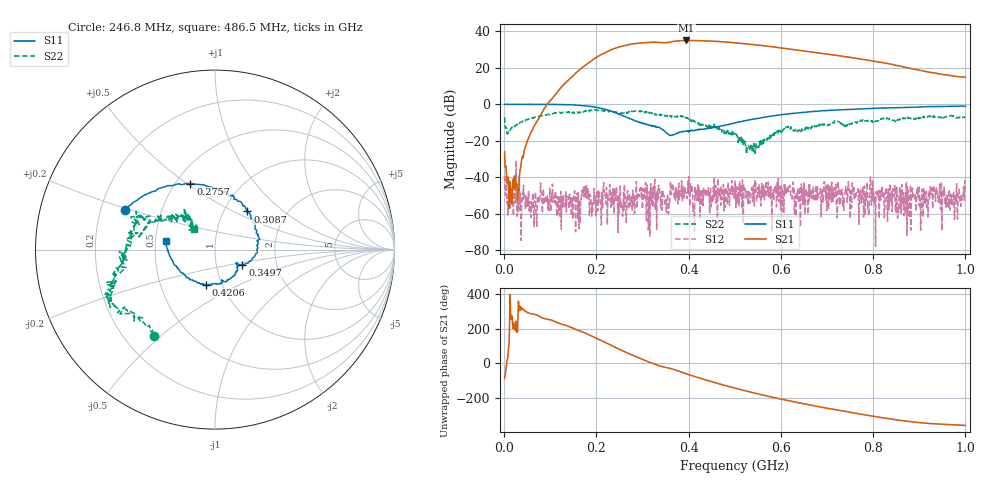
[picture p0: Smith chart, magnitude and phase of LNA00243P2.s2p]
! Created with skrf 1.9.0 (http://scikit-rf.org).
# Hz S RI R 50.0
!freq ReS11 ImS11 ReS21 ImS21 ReS12 ImS12 ReS22 ImS22
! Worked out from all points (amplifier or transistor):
!   1001 points, 1 MHz to 1 GHz, reference 50 ohm
!   highest |S21| = 35.0 dB at 394.6 MHz (marker M1)
!   |S21| within 3 dB of that: 257.5 MHz to 565.9 MHz (308.4 MHz wide, 74.9 % of centre)
!   unconditionally stable (mu >= 1): start of sweep to 78.66 MHz; 216.8 MHz to 260.7 MHz; 326.7 MHz to end of sweep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
!   at 166.8 MHz: K = 1.62, MAG = 31.2 dB, |S12| = -52.1 dB
!   at 500.5 MHz: K = 1.38, MAG = 34.2 dB, |S12| = -42.0 dB
!   at 1 GHz: K = 2.85, MAG = 23.2 dB, |S12| = -46.4 dB
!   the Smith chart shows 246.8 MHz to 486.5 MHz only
!   S11 on the Smith chart (normalised r, x): 246.8 MHz: 0.30, +0.19; 275.7 MHz: 0.59, +0.52; 308.7 MHz: 1.29, +0.59; 349.7 MHz: 1.34, -0.24; 420.6 MHz: 0.84, -0.34; 486.5 MHz: 0.57, +0.06
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1000000  0.9913 0.014  0.00252 -0.0497  -0.0107 -0.00276  0.3082 0.3201
1.08892e8  0.5106 -0.8515  -0.8073 -1.512  -0.00017 0.00301  0.428 -0.3756
1.67833e8  -0.247 -0.8965  -9.863 -0.5272  -0.00419 0.000921  0.0337 -0.6285
2.11789e8  -0.6916 -0.3362  -15.15 18.08  -0.00345 -0.00164  -0.1931 -0.6547
2.28772e8  -0.6739 -0.0408  -8.967 28.26  -0.00536 0.00354  -0.2851 -0.612
2.46754e8  -0.5041 0.2193  3.15 36.31  -0.000213 -0.00022  -0.3392 -0.4798
2.75725e8  -0.1371 0.3679  28.95 33.9  -0.00248 0.00199  -0.5521 -0.3205
3.08692e8  0.1801 0.2125  48.27 11  -0.000574 -0.000285  -0.5573 -0.1891
3.34666e8  0.2355 -0.0151  48.57 -10.76  -0.000299 0.0058  -0.4891 -0.0581
3.49651e8  0.1531 -0.0877  44.93 -19.33  0.000531 0.00233  -0.4719 0.0189
3.71629e8  0.1244 -0.09  42.06 -33.91  0.00123 0.002  -0.4347 0.1571
3.94606e8  0.0717 -0.168  28.01 -48.75  0.00366 0.000529  -0.3883 0.1685
4.2058e8  -0.0499 -0.1951  7.244 -55.21  0.000919 0.00224  -0.2552 0.1808
4.5055e8  -0.1896 -0.1266  -14.92 -52.09  -0.00025 0.00189  -0.1533 0.1728
4.86514e8  -0.2737 0.0502  -33.97 -37.02  0.00348 -0.00194  -0.1148 0.1139
5.005e8  -0.276 0.1296  -38.82 -29.58  -0.00104 -0.00792  -0.1407 0.1041
5.4046e8  -0.1961 0.3362  -42.4 -7.78  0.00475 -0.00361  -0.0462 0.0227
5.88412e8  0.0151 0.4934  -34.64 12.27  0.00261 -0.00344  -0.1375 -0.086
6.67333e8  0.3978 0.4917  -12.59 23.71  -0.000597 -0.00426  -0.2462 -0.0419
7.53247e8  0.6752 0.2775  4.379 18.5  -0.000382 -0.00138  -0.2847 0.0285
8.34166e8  0.7944 0.0103  9.687 8.507  -0.00103 -0.00076  -0.3945 0.0527
1e9  0.7227 -0.5316  5.544 0.2479  -0.0044 0.00186  -0.2383 0.3757
